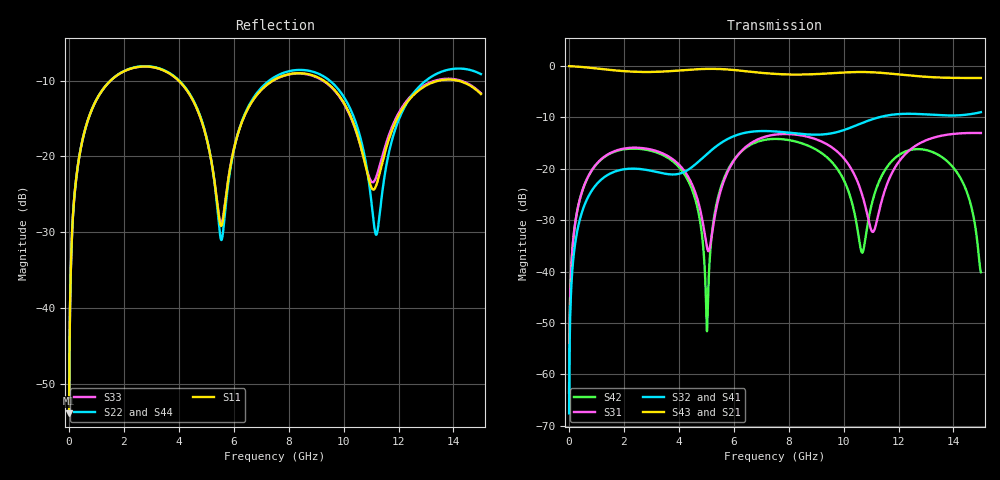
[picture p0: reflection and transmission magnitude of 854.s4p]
! Created with skrf 1.8.0 (http://scikit-rf.org).
# GHz S RI R 50.0
!freq ReS11 ImS11 ReS12 ImS12 ReS13 ImS13
! ReS14 ImS14
! ReS21 ImS21 ReS22 ImS22 ReS23 ImS23
! ReS24 ImS24
! ReS31 ImS31 ReS32 ImS32 ReS33 ImS33
! ReS34 ImS34
! ReS41 ImS41 ReS42 ImS42 ReS43 ImS43
! ReS44 ImS44
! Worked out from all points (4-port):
!   2499 points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, 5 MHz to 15 GHz, reference 50 ohm
!   strongest paths, dB at 5 MHz, 3.476 GHz, 7.19 GHz, 11.1 GHz, 15 GHz:
!     S43: 0.0, -1.0, -1.4, -1.2, -2.3
!     S21: 0.0, -1.1, -1.4, -1.2, -2.3
!     S32: -67.6, -20.9, -12.6, -10.3, -9.0
!     S41: -67.6, -21.0, -12.7, -10.3, -9.0
!     S31: -63.6, -17.2, -13.7, -32.1, -13.0
!     S42: -63.6, -17.5, -14.3, -25.4, -40.1
!   lowest |S11| = -53.9 dB at 5 MHz (marker M1), VSWR 1.00, Z = 50.2 + j0.123 ohm
!   |S11| at or under -10 dB: start of sweep to 1.519 GHz; 3.993 GHz to 7.428 GHz (3.435 GHz wide, 60.2 % of centre); 9.272 GHz to 13.49 GHz (4.218 GHz wide, 37.1 % of centre) (the widest 3 of 4)
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0.005  0.00162 0.00123  0.9984 -0.00315  8.17e-05 0.000655  -7.92e-05 -0.000409
       0.9984 -0.00315  0.00162 0.00123  -7.92e-05 -0.000409  8.16e-05 0.000655
       8.17e-05 0.000655  -7.92e-05 -0.000409  0.00162 0.00123  0.9984 -0.00315
       -7.92e-05 -0.000409  8.16e-05 0.000655  0.9984 -0.00315  0.00162 0.00123
0.4126719  0.0361 0.1028  0.9497 -0.2542  0.0183 0.0493  -0.0148 -0.0299
           0.9497 -0.2542  0.0362 0.1028  -0.0148 -0.0299  0.0176 0.0495
           0.0183 0.0493  -0.0148 -0.0299  0.0361 0.1028  0.9497 -0.2542
           -0.0148 -0.0299  0.0176 0.0495  0.9497 -0.2542  0.0362 0.1028
1.925802  0.3284 0.1423  0.3994 -0.802  0.1522 0.0339  -0.0961 0.0192
          0.3994 -0.802  0.3306 0.14  -0.0962 0.0194  0.1469 0.0445
          0.1522 0.0339  -0.0962 0.0194  0.3283 0.1423  0.3994 -0.802
          -0.0961 0.0192  0.1469 0.0445  0.3994 -0.802  0.3305 0.14
5.020842  0.0671 -0.1109  -0.8703 -0.3536  -0.0148 -0.00898  -0.0486 0.1303
          -0.8703 -0.3536  0.0609 -0.1159  -0.0474 0.1307  -0.0024 -0.00114
          -0.0148 -0.00898  -0.0474 0.1307  0.0678 -0.1099  -0.8704 -0.3536
          -0.0486 0.1303  -0.0024 -0.00114  -0.8704 -0.3536  0.0597 -0.1156
8.6411  0.3482 -0.0372  0.0113 0.8286  0.1647 -0.1249  0.2022 -0.0747
        0.0113 0.8286  0.3647 -0.057  0.2022 -0.0774  0.1636 -0.0491
        0.1647 -0.1249  0.2022 -0.0774  0.3463 -0.0355  0.0105 0.8293
        0.2022 -0.0747  0.1636 -0.0491  0.0105 0.8293  0.3635 -0.0575
11.17341  0.0614 0.0154  0.8596 0.1136  -0.0105 0.0262  0.0348 -0.3095
          0.8596 0.1136  0.0303 -0.00462  0.029 -0.3096  0.0305 0.054
          -0.0105 0.0262  0.029 -0.3096  0.069 0.0202  0.8594 0.1141
          0.0348 -0.3095  0.0305 0.054  0.8594 0.1141  0.0218 -0.000844
15  0.2514 -0.057  -0.2813 -0.7145  -0.0869 -0.2055  -0.3312 0.1291
    -0.2813 -0.7145  0.3286 -0.1163  -0.3291 0.1353  -0.00701 -0.00689
    -0.0869 -0.2055  -0.3291 0.1353  0.2531 -0.0644  -0.2757 -0.7155
    -0.3312 0.1291  -0.00701 -0.00689  -0.2757 -0.7155  0.3359 -0.106
